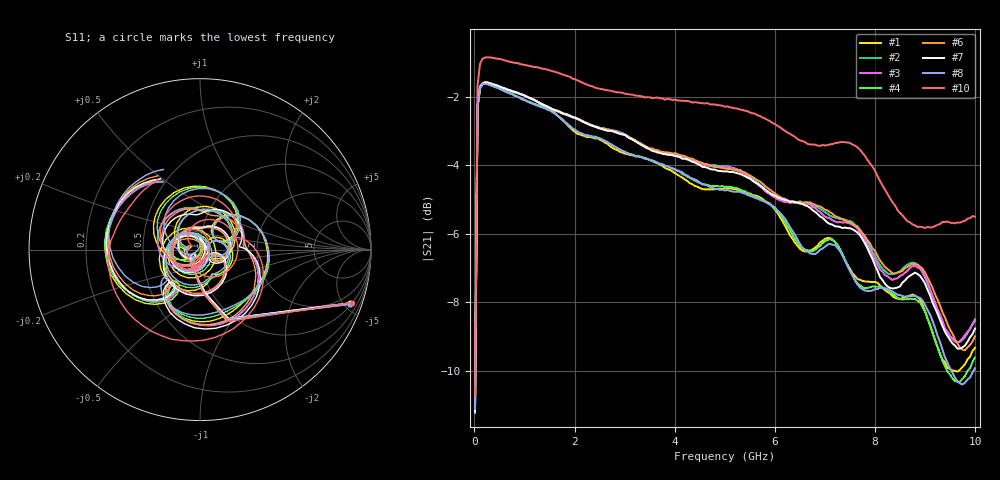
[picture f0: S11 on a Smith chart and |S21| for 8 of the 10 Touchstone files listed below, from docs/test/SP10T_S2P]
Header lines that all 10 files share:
!Agilent Technologies,N5230C,MY49000813,A.09.42.22
!Agilent N5230C: A.09.42.22
!Correction: S11(Full 2 Port(1,2))
!S21(Full 2 Port(1,2))
!S12(Full 2 Port(1,2))
!S22(Full 2 Port(1,2))
!S2P File: Measurements: S11, S21, S12, S22:
# Hz S  dB  R 50
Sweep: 10 MHz to 10 GHz
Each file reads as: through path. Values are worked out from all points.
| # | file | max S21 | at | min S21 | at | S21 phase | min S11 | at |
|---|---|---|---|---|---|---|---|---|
| 1 | 1.s2p | -1.63 dB | 209.8 MHz | -11.2 dB | 10 MHz | 70 deg at 5.005 GHz | -44.9 dB | 5.355 GHz |
| 2 | 2.s2p | -1.59 dB | 209.8 MHz | -11.2 dB | 10 MHz | -102 deg at 5.005 GHz | -30.1 dB | 5.405 GHz |
| 3 | 3.s2p | -1.59 dB | 209.8 MHz | -11.1 dB | 10 MHz | -105 deg at 5.005 GHz | -29.7 dB | 5.405 GHz |
| 4 | 4.s2p | -1.62 dB | 209.8 MHz | -11.2 dB | 10 MHz | 64 deg at 5.005 GHz | -37.4 dB | 5.355 GHz |
| 5 | 5.s2p | -1.62 dB | 209.8 MHz | -11.2 dB | 10 MHz | 73 deg at 5.005 GHz | -32.5 dB | 5.455 GHz |
| 6 | 6.s2p | -1.58 dB | 209.8 MHz | -11.1 dB | 10 MHz | -96 deg at 5.005 GHz | -34.8 dB | 5.455 GHz |
| 7 | 7.s2p | -1.58 dB | 209.8 MHz | -11.2 dB | 10 MHz | -99 deg at 5.005 GHz | -30.2 dB | 5.455 GHz |
| 8 | 8.s2p | -1.63 dB | 209.8 MHz | -11.1 dB | 10 MHz | 71 deg at 5.005 GHz | -40.7 dB | 5.455 GHz |
| 9 | 9.s2p | -0.86 dB | 259.8 MHz | -10.9 dB | 10 MHz | -120 deg at 5.005 GHz | -26.1 dB | 5.405 GHz |
| 10 | 10.s2p | -0.85 dB | 259.8 MHz | -10.7 dB | 10 MHz | -113 deg at 5.005 GHz | -26.1 dB | 3.656 GHz |
